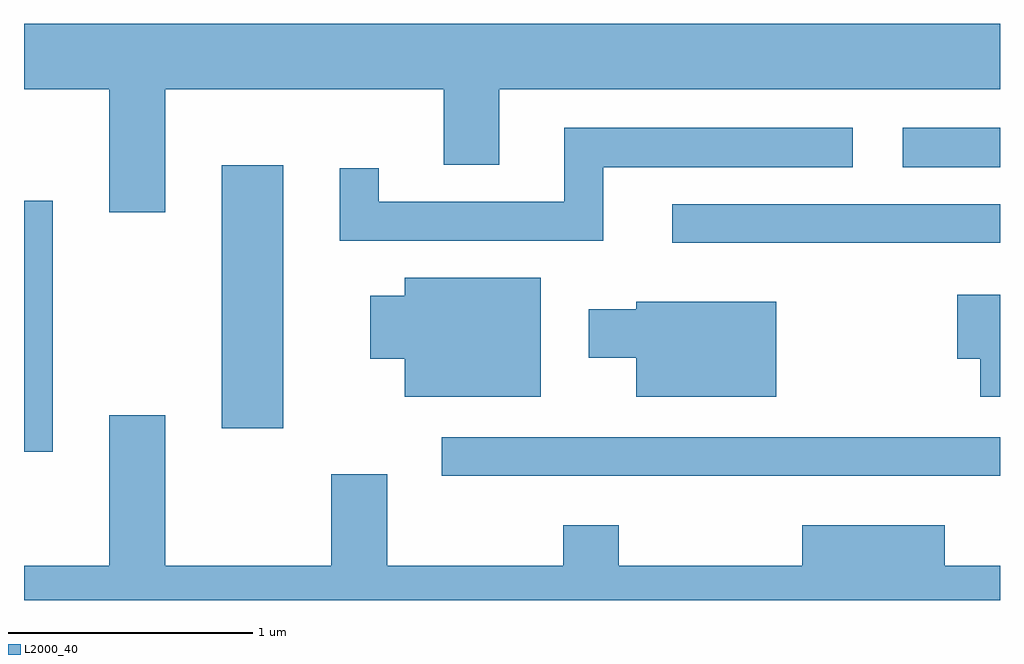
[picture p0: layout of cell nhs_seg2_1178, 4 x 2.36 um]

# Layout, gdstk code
import gdstk
lib = gdstk.Library(unit=1e-6, precision=1e-09)
def R(c, l, rs):  # rectangles x0, y0, x1, y1
    for r in rs: c.add(gdstk.rectangle(r[:2], r[2:], *l))
def P(c, l, *ps):  # polygons
    for p in ps: c.add(gdstk.Polygon(p, *l))
L2000_40 = (2000, 40)

nhs_seg2_1178 = lib.new_cell('nhs_seg2_1178')
R(nhs_seg2_1178, L2000_40, [(221.323,1022.311,223.611,1022.469), (219.611,1022.411,219.729,1023.439), (220.421,1022.506,220.674,1023.584), (222.268,1023.266,223.611,1023.424), (223.213,1023.576,223.611,1023.739)])
P(nhs_seg2_1178, L2000_40, [(220.189,1023.896),(221.331,1023.896),(221.331,1023.586),(221.559,1023.586),(221.559,1023.896),(223.611,1023.896),(223.611,1024.164),(219.611,1024.164),(219.611,1023.896),(219.961,1023.896),(219.961,1023.391),(220.189,1023.391)],
  [(221.984,1023.576),(223.008,1023.576),(223.008,1023.739),(221.826,1023.739),(221.826,1023.434),(221.064,1023.434),(221.064,1023.573),(220.906,1023.573),(220.906,1023.276),(221.984,1023.276)],
  [(221.729,1023.124),(221.171,1023.124),(221.171,1023.049),(221.031,1023.049),(221.031,1022.791),(221.171,1022.791),(221.171,1022.636),(221.729,1022.636)],
  [(223.611,1023.054),(223.436,1023.054),(223.436,1022.791),(223.531,1022.791),(223.531,1022.636),(223.611,1022.636)],
  [(222.694,1023.024),(222.121,1023.024),(222.121,1022.994),(221.926,1022.994),(221.926,1022.796),(222.121,1022.796),(222.121,1022.636),(222.694,1022.636)],
  [(223.611,1021.944),(223.384,1021.944),(223.384,1022.109),(222.801,1022.109),(222.801,1021.944),(222.049,1021.944),(222.049,1022.109),(221.821,1022.109),(221.821,1021.944),(221.099,1021.944),(221.099,1022.319),(220.871,1022.319),(220.871,1021.944),(220.189,1021.944),(220.189,1022.559),(219.961,1022.559),(219.961,1021.944),(219.611,1021.944),(219.611,1021.802),(223.611,1021.802)])

lib.write_gds('nhs_seg2_1178.gds')
